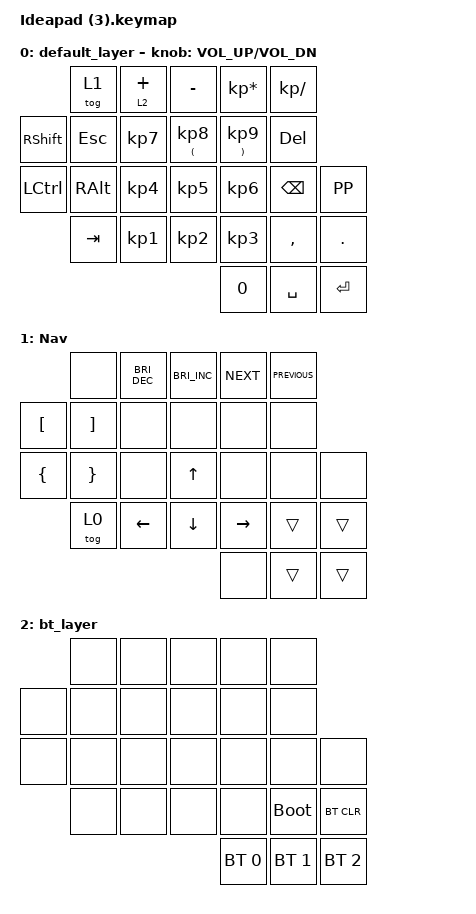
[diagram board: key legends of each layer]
#include <behaviors.dtsi>
#include <dt-bindings/zmk/bt.h>
#include <dt-bindings/zmk/keys.h>

/ {
    keymap {
        compatible = "zmk,keymap";

        default_layer {
            bindings = <
                  &tog 1         &lt 2 PLUS       &kp MINUS             &kp KP_MULTIPLY       &kp KP_SLASH
&kp RSHIFT        &kp ESC        &kp KP_NUMBER_7  &mt LPAR KP_NUMBER_8  &mt RPAR KP_NUMBER_9  &kp DELETE
&kp LEFT_CONTROL  &kp RIGHT_ALT  &kp KP_NUMBER_4  &kp KP_NUMBER_5       &kp KP_NUMBER_6       &kp BACKSPACE  &kp K_PP
                  &kp TAB        &kp KP_NUMBER_1  &kp KP_NUMBER_2       &kp KP_NUMBER_3       &kp COMMA      &kp DOT
                                                                        &kp NUMBER_0          &kp SPACE      &kp ENTER
            >;

            sensor-bindings = <&inc_dec_kp C_VOL_UP C_VOL_DN>;
        };

        Nav {
            bindings = <
                  &none              &kp C_BRIGHTNESS_DEC  &kp C_BRIGHTNESS_INC  &kp C_NEXT  &kp C_PREVIOUS
&kp LEFT_BRACKET  &kp RIGHT_BRACKET  &none                 &none                 &none       &none
&kp LEFT_BRACE    &kp RIGHT_BRACE    &none                 &kp UP                &none       &none           &none
                  &tog 0             &kp LEFT              &kp DOWN              &kp RIGHT   &trans          &trans
                                                                                 &none       &trans          &trans
            >;
        };

        bt_layer {
            bindings = <
       &none  &none  &none  &none         &none
&none  &none  &none  &none  &none         &none
&none  &none  &none  &none  &none         &none         &none
       &none  &none  &none  &none         &bootloader   &bt BT_CLR
                            &bt BT_SEL 0  &bt BT_SEL 1  &bt BT_SEL 2
            >;
        };
    };
};
